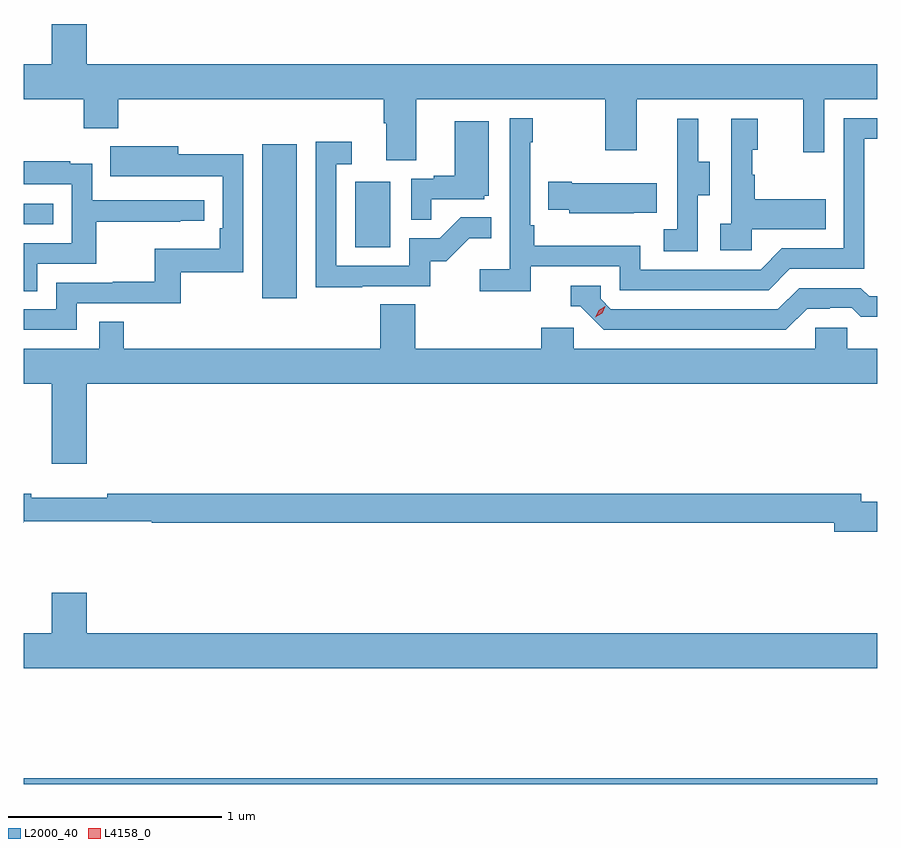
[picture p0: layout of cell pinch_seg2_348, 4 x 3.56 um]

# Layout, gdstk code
import gdstk
lib = gdstk.Library(unit=1e-6, precision=1e-09)
def R(c, l, rs):  # rectangles x0, y0, x1, y1
    for r in rs: c.add(gdstk.rectangle(r[:2], r[2:], *l))
def P(c, l, *ps):  # polygons
    for p in ps: c.add(gdstk.Polygon(p, *l))
L2000_40 = (2000, 40)
L4158_0 = (4158, 0)

pinch_seg2_348 = lib.new_cell('pinch_seg2_348')
R(pinch_seg2_348, L2000_40, [(968.073,624.449,972.073,624.476), (969.191,626.724,969.352,627.445), (969.626,626.964,969.79,627.271), (968.073,627.072,968.213,627.168)])
P(pinch_seg2_348, L2000_40, [(969.913,627.656),(970.798,627.656),(970.798,627.417),(970.945,627.417),(970.945,627.656),(971.726,627.656),(971.726,627.408),(971.823,627.408),(971.823,627.656),(972.073,627.656),(972.073,627.82),(968.368,627.82),(968.368,628.009),(968.204,628.009),(968.204,627.82),(968.073,627.82),(968.073,627.656),(968.356,627.656),(968.356,627.521),(968.516,627.521),(968.516,627.656),(969.761,627.656),(969.761,627.544),(969.773,627.544),(969.773,627.37),(969.913,627.37)],
  [(970.448,626.874),(970.866,626.874),(970.866,626.763),(971.563,626.763),(971.662,626.862),(972.012,626.862),(972.012,627.471),(972.073,627.471),(972.073,627.567),(971.916,627.567),(971.916,626.958),(971.625,626.958),(971.526,626.859),(970.962,626.859),(970.962,626.971),(970.466,626.971),(970.466,627.067),(970.446,627.067),(970.446,627.455),(970.459,627.455),(970.459,627.568),(970.35,627.568),(970.35,626.86),(970.209,626.86),(970.209,626.758),(970.448,626.758)],
  [(971.232,627.208),(971.287,627.208),(971.287,627.363),(971.233,627.363),(971.233,627.565),(971.135,627.565),(971.135,627.351),(971.136,627.351),(971.136,627.047),(971.073,627.047),(971.073,626.944),(971.232,626.944)],
  [(971.484,627.047),(971.831,627.047),(971.831,627.187),(971.497,627.187),(971.497,627.302),(971.487,627.302),(971.487,627.42),(971.512,627.42),(971.512,627.565),(971.388,627.565),(971.388,627.074),(971.337,627.074),(971.337,626.949),(971.484,626.949)],
  [(969.983,627.189),(970.23,627.189),(970.23,627.204),(970.252,627.204),(970.252,627.553),(970.094,627.553),(970.094,627.298),(969.995,627.298),(969.995,627.285),(969.888,627.285),(969.888,627.091),(969.983,627.091)],
  [(969.659,626.781),(969.978,626.781),(969.978,626.898),(970.054,626.898),(970.161,627.005),(970.265,627.005),(970.265,627.104),(970.121,627.104),(970.023,627.006),(969.879,627.006),(969.879,626.877),(969.537,626.877),(969.537,627.351),(969.61,627.351),(969.61,627.457),(969.441,627.457),(969.441,626.776),(969.659,626.776)],
  [(968.322,626.7),(968.809,626.7),(968.809,626.847),(969.102,626.847),(969.102,627.398),(968.797,627.398),(968.797,627.436),(968.479,627.436),(968.479,627.296),(968.693,627.296),(968.693,627.297),(969.006,627.297),(969.006,627.052),(968.993,627.052),(968.993,626.956),(968.688,626.956),(968.688,626.801),(968.491,626.801),(968.491,626.796),(968.226,626.796),(968.226,626.673),(968.073,626.673),(968.073,626.577),(968.322,626.577)],
  [(968.137,626.886),(968.414,626.886),(968.414,627.082),(968.807,627.082),(968.807,627.087),(968.92,627.087),(968.92,627.183),(968.394,627.183),(968.394,627.355),(968.291,627.355),(968.291,627.367),(968.073,627.367),(968.073,627.258),(968.298,627.258),(968.298,626.982),(968.073,626.982),(968.073,626.758),(968.137,626.758)],
  [(970.931,627.125),(971.039,627.125),(971.039,627.262),(970.642,627.262),(970.642,627.27),(970.531,627.27),(970.531,627.14),(970.629,627.14),(970.629,627.122),(970.931,627.122)],
  [(971.743,626.676),(971.85,626.676),(971.85,626.679),(971.953,626.679),(971.995,626.637),(972.073,626.637),(972.073,626.733),(972.034,626.733),(971.995,626.772),(971.706,626.772),(971.607,626.673),(970.824,626.673),(970.776,626.721),(970.776,626.784),(970.637,626.784),(970.637,626.688),(970.68,626.688),(970.791,626.577),(971.644,626.577)],
  [(972.073,626.488),(971.931,626.488),(971.931,626.586),(971.781,626.586),(971.781,626.488),(970.65,626.488),(970.65,626.586),(970.499,626.586),(970.499,626.488),(969.908,626.488),(969.908,626.696),(969.743,626.696),(969.743,626.488),(968.543,626.488),(968.543,626.615),(968.427,626.615),(968.427,626.488),(968.073,626.488),(968.073,626.324),(968.204,626.324),(968.204,625.95),(968.368,625.95),(968.368,626.324),(972.073,626.324)],
  [(972.073,625.772),(971.998,625.772),(971.998,625.808),(968.464,625.808),(968.464,625.789),(968.108,625.789),(968.108,625.808),(968.073,625.808),(968.073,625.672),(968.074,625.672),(968.074,625.68),(968.674,625.68),(968.674,625.672),(971.87,625.672),(971.87,625.63),(972.073,625.63)],
  [(972.073,625.156),(968.368,625.156),(968.368,625.345),(968.204,625.345),(968.204,625.156),(968.073,625.156),(968.073,624.992),(972.073,624.992)])
P(pinch_seg2_348, L4158_0, [(970.752,626.636),(970.752,626.636),(970.768,626.669),(970.798,626.688),(970.799,626.688),(970.799,626.688),(970.783,626.655),(970.752,626.636)])

lib.write_gds('pinch_seg2_348.gds')
